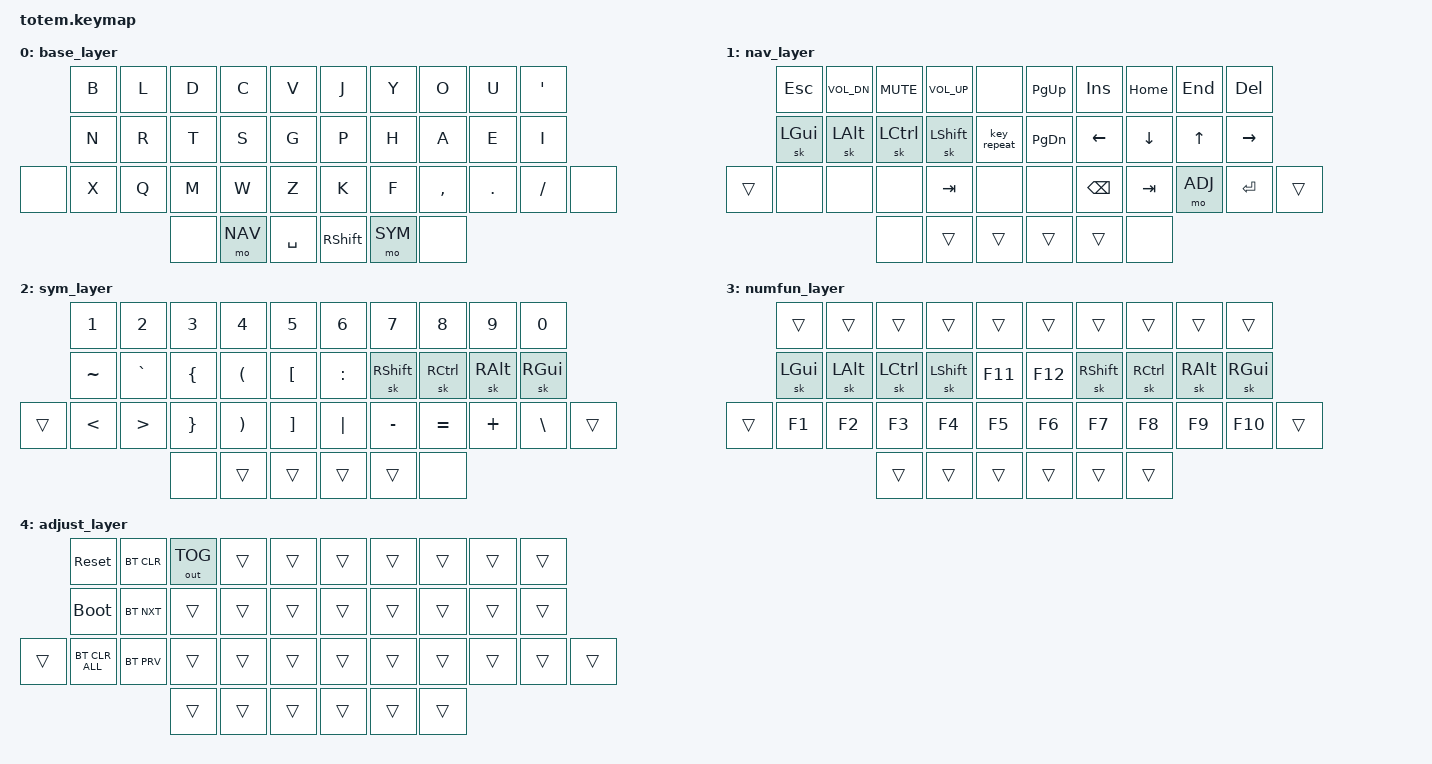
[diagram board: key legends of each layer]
#include <behaviors.dtsi>
#include <dt-bindings/zmk/keys.h>
#include <dt-bindings/zmk/bt.h>
#include <dt-bindings/zmk/outputs.h>

#define BASE 0
#define NAV  1
#define SYM  2
#define NFN  3
#define ADJ  4

&mt {
  flavor = "hold-preferred";
  tapping-term-ms = <130>;
};

&lt {
  flavor = "tap-preferred";
  tapping-term-ms = <170>;
};

/ {
  combos {
    compatible = "zmk,combos";
    combo_excl {
      timeout-ms = <30>;
      key-positions = <0 10>;
      bindings = <&kp EXCL>;
    };
    combo_at {
      timeout-ms = <30>;
      key-positions = <1 11>;
      bindings = <&kp AT>;
    };
    combo_hash {
      timeout-ms = <30>;
      key-positions = <2 12>;
      bindings = <&kp HASH>;
    };
    combo_dllr {
      timeout-ms = <30>;
      key-positions = <3 13>;
      bindings = <&kp DLLR>;
    };
    combo_prcnt {
      timeout-ms = <30>;
      key-positions = <4 14>;
      bindings = <&kp PRCNT>;
    };
    combo_caret {
      timeout-ms = <30>;
      key-positions = <5 15>;
      bindings = <&kp CARET>;
    };
    combo_amps {
      timeout-ms = <30>;
      key-positions = <6 16>;
      bindings = <&kp AMPS>;
    };
    combo_star {
      timeout-ms = <30>;
      key-positions = <7 17>;
      bindings = <&kp STAR>;
    };
    combo_under {
      timeout-ms = <30>;
      key-positions = <8 18>;
      bindings = <&kp UNDER>;
    };
    combo_semi {
      timeout-ms = <30>;
      key-positions = <9 19>;
      bindings = <&kp SEMI>;
    };
  };

  conditional_layers {
    compatible = "zmk,conditional-layers";
      tri_layer {
          if-layers = <NAV SYM>;
          then-layer = <NFN>;
      };
  };

  keymap {
    compatible = "zmk,keymap";

    base_layer {
      bindings = <
                &kp B       &kp L       &kp D       &kp C       &kp V               &kp J           &kp Y       &kp O       &kp U       &kp SQT
                &kp N       &kp R       &kp T       &kp S       &kp G               &kp P           &kp H       &kp A       &kp E       &kp I
    &none       &kp X       &kp Q       &kp M       &kp W       &kp Z               &kp K           &kp F       &kp COMMA   &kp DOT     &kp FSLH  &none
                                        &none       &mo NAV     &kp SPACE           &kp RSHFT       &mo SYM     &none
        >;
    };

    nav_layer {
      bindings = <
                &kp ESC     &kp C_VOL_DN  &kp C_MUTE    &kp C_VOL_UP  &none           &kp PG_UP   &kp INS     &kp HOME    &kp END     &kp DEL
                &sk LGUI    &sk LALT      &sk LCTL      &sk LSHFT     &key_repeat     &kp PG_DN   &kp LEFT    &kp DOWN    &kp UP      &kp RIGHT
    &trans      &none       &none         &none         &kp TAB       &none           &none       &kp BSPC    &kp TAB     &mo ADJ     &kp RET     &trans
                                          &none         &trans        &trans          &trans      &trans      &none
        >;
    };

    sym_layer {
      bindings = <
                &kp N1      &kp N2       &kp N3      &kp N4       &kp N5          &kp N6      &kp N7      &kp N8      &kp N9      &kp N0
                &kp TILDE   &kp GRAVE    &kp LBRC    &kp LPAR     &kp LBKT        &kp COLON   &sk RSHFT   &sk RCTL    &sk RALT    &sk RGUI
    &trans      &kp LT      &kp GT       &kp RBRC    &kp RPAR     &kp RBKT        &kp PIPE    &kp MINUS   &kp EQUAL   &kp PLUS    &kp BSLH     &trans
                                         &none       &trans       &trans          &trans      &trans      &none
        >;
    };
    
    numfun_layer {
      bindings = <
                &trans      &trans      &trans      &trans      &trans          &trans      &trans      &trans      &trans      &trans
                &sk LGUI    &sk LALT    &sk LCTL    &sk LSHFT   &kp F11         &kp F12     &sk RSHFT   &sk RCTL    &sk RALT    &sk RGUI
    &trans      &kp F1      &kp F2      &kp F3      &kp F4      &kp F5          &kp F6      &kp F7      &kp F8      &kp F9      &kp F10     &trans
                                        &trans      &trans      &trans          &trans      &trans      &trans      
        >;
    };
 
    adjust_layer {
      bindings = <

                &sys_reset     &bt BT_CLR  &out OUT_TOG  &trans   &trans          &trans      &trans      &trans      &trans      &trans
                &bootloader    &bt BT_NXT  &trans        &trans   &trans          &trans      &trans      &trans      &trans      &trans
    &trans      &bt BT_CLR_ALL &bt BT_PRV  &trans        &trans   &trans          &trans      &trans      &trans      &trans      &trans  &trans
                                           &trans        &trans   &trans          &trans      &trans      &trans
        >;
    };
	};
};
